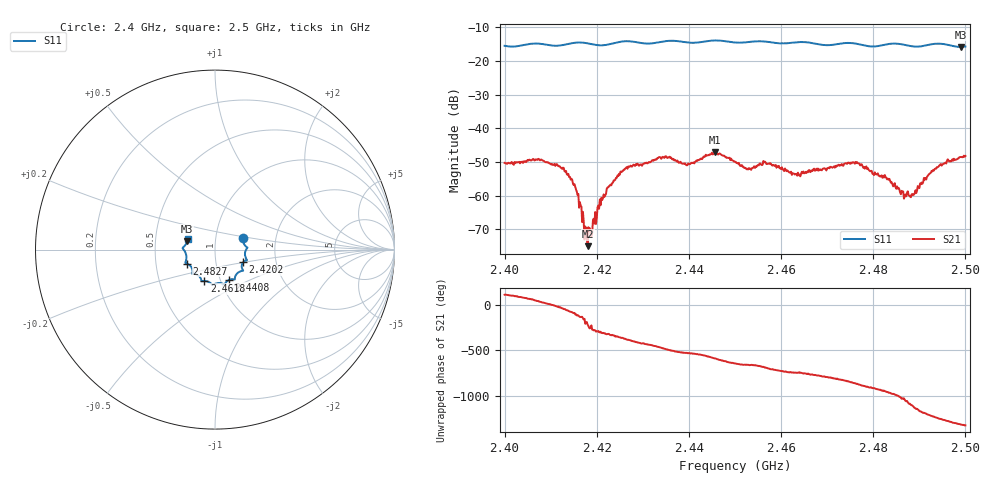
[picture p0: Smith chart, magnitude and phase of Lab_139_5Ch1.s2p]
# Hz S RI R 50
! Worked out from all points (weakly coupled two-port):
!   601 points, 2.4 GHz to 2.5 GHz, reference 50 ohm
!   highest |S21| = -47.17 dB at 2.4457 GHz (marker M1); lowest = -75.0 dB at 2.418 GHz (marker M2)
!   lowest |S11| = -15.8 dB at 2.499 GHz (marker M3), VSWR 1.39, Z = 36.5 + j3.53 ohm
!   |S11| at or under -10 dB: start of sweep to end of sweep
!   S12 and S22 are empty: the file has one direction only
!   S11 on the Smith chart (normalised r, x): 2.4 GHz: 1.36, +0.17; 2.4202 GHz: 1.36, -0.20; 2.4408 GHz: 1.10, -0.38; 2.4618 GHz: 0.84, -0.30; 2.4827 GHz: 0.72, -0.12; 2.5 GHz: 0.73, +0.09
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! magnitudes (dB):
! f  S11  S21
! 2.4 GHz  -15.5  -50.3
! 2.4075 GHz  -14.9  -49.2
! 2.4123 GHz  -15.3  -51.8
! 2.415 GHz  -14.6  -56.9
! 2.4167 GHz  -14.5  -63.3
! 2.418 GHz  -14.8  -75.0
! 2.4185 GHz  -14.9  -69.7
! 2.4202 GHz  -15.3  -63.5
! 2.4257 GHz  -14.2  -52.7
! 2.4333 GHz  -14.5  -48.8
! 2.4408 GHz  -14.6  -50.3
! 2.4457 GHz  -13.9  -47.2
! 2.45 GHz  -14.5  -49.9
! 2.4618 GHz  -14.7  -53.1
! 2.4667 GHz  -14.7  -52.5
! 2.476 GHz  -14.8  -50.5
! 2.4827 GHz  -15.1  -54.4
! 2.4833 GHz  -15.0  -55.3
! 2.4883 GHz  -15.6  -59.6
! 2.493 GHz  -15.0  -52.4
! 2.499 GHz  -15.8  -48.5
! 2.5 GHz  -15.7  -48.2
